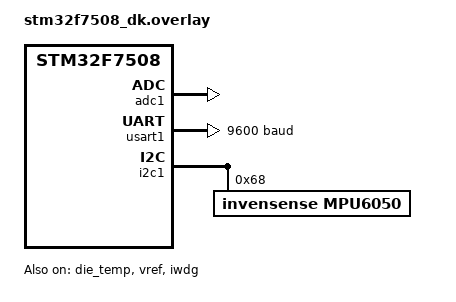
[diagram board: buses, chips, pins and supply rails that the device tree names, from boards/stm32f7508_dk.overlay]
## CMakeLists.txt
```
cmake_minimum_required(VERSION 3.20.0)
find_package(Zephyr REQUIRED HINTS $ENV{ZEPHYR_BASE})
project(stm32f7_dashboard)

target_include_directories(app PRIVATE src)

target_sources(app PRIVATE
    src/main.c
    src/system_overview.c
    src/task_management.c
    src/pc_profiler.c
    src/generated/symtab_data.c
    src/events_logs.c
    src/live_variables.c
    src/ball_game.c
    src/launcher.c
    src/splash.c
    src/images/img_image1.c
    src/images/img_image2.c
    src/temperature.c
    src/mpu6050_input.c
    src/async_printk.c
    src/watchdog.c
)

set(PC_PROFILER_SYMTAB_SRC ${CMAKE_CURRENT_SOURCE_DIR}/src/generated/symtab_data.c)
if(NOT EXISTS ${PC_PROFILER_SYMTAB_SRC})
    file(MAKE_DIRECTORY ${CMAKE_CURRENT_SOURCE_DIR}/src/generated)
    file(WRITE ${PC_PROFILER_SYMTAB_SRC}
        "#include \"pc_profiler.h\"\n"
        "const struct symtab_entry pc_profiler_symtab[] = { { 0x0u, 0x0u, \"(build twice)\" } };\n"
        "const unsigned int pc_profiler_symtab_count = 0;\n")
endif()

add_custom_target(pc_profiler_gen_symtab ALL
    COMMAND ${Python3_EXECUTABLE} ${CMAKE_CURRENT_SOURCE_DIR}/tools/gen_symtab.py
            --nm  ${CMAKE_NM}
            --elf $<TARGET_FILE:zephyr_final>
            --out ${PC_PROFILER_SYMTAB_SRC}
    COMMENT "pc_profiler: regenerating symtab_data.c from zephyr.elf (used by next build)"
    VERBATIM
)
add_dependencies(pc_profiler_gen_symtab zephyr_final)
```

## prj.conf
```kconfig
CONFIG_PRINTK=y
CONFIG_DISPLAY=y
CONFIG_STM32_LTDC_RGB888=y
CONFIG_GPIO=y

# Default 1024 overflows: lv_chart_create() (Plot Display) needs more stack.
CONFIG_MAIN_STACK_SIZE=4096

# Double LTDC framebuffer avoids CPU/DMA SDRAM contention that lagged the touch cursor.
CONFIG_STM32_LTDC_FB_NUM=2

# VDB @65%: <100% avoids a driver fast path that locks the UI; sized to flush the chart in one pass.
CONFIG_LV_Z_VDB_ZEPHYR_REGION=y
CONFIG_LV_Z_VDB_ZEPHYR_REGION_NAME="SDRAM1"
CONFIG_LV_Z_VDB_SIZE=65
CONFIG_LV_Z_DOUBLE_VDB=y

CONFIG_LOG=y
CONFIG_LOG_DEFAULT_LEVEL=1

# Reboot on panic instead of halt-forever, so the board self-recovers.
CONFIG_RESET_ON_FATAL_ERROR=y

# IWDG catches lockups that raise no CPU fault; configured/fed from src/watchdog.c.
CONFIG_WATCHDOG=y

# Lets watchdog_report_reset_cause() tell a normal boot from a watchdog/software reset.
CONFIG_HWINFO=y

# Default input priority (14) starved by the LVGL workqueue: Menu button unresponsive.
CONFIG_INPUT_THREAD_PRIORITY_OVERRIDE=y
CONFIG_INPUT_THREAD_PRIORITY=-1

CONFIG_LVGL=y

# Default 2KB LVGL heap makes every lv_obj_create() return NULL; 128KB of 256KB SRAM.
CONFIG_LV_Z_MEM_POOL_SIZE=131072
CONFIG_LV_Z_RUN_LVGL_ON_WORKQUEUE=y

CONFIG_LV_USE_ASSERT_MEM_INTEGRITY=y
CONFIG_LV_USE_ASSERT_OBJ=y
CONFIG_LV_USE_LABEL=y
CONFIG_LV_USE_BUTTON=y
CONFIG_LV_FONT_MONTSERRAT_14=y
CONFIG_INPUT=y
CONFIG_LV_USE_BUTTONMATRIX=y
CONFIG_LV_FONT_MONTSERRAT_20=y
CONFIG_LV_FONT_MONTSERRAT_24=y
CONFIG_LV_FONT_MONTSERRAT_28=y
CONFIG_LV_USE_TABLE=y
CONFIG_LV_USE_CHART=y
CONFIG_LV_USE_BAR=y

CONFIG_SYS_HEAP_RUNTIME_STATS=y
CONFIG_INIT_STACKS=y
CONFIG_THREAD_STACK_INFO=y

CONFIG_THREAD_MONITOR=y
CONFIG_THREAD_NAME=y

# Raw .bin output, needed to flash external QSPI at 0x90000000.
CONFIG_BUILD_OUTPUT_BIN=y

# Chain-loaded by boot_qspi without a core reset: stale MPU config faults on our .bss zeroing.
CONFIG_INIT_ARCH_HW_AT_BOOT=y

CONFIG_PICOLIBC_IO_FLOAT=y

CONFIG_ADC=y

CONFIG_SENSOR=y

# Async printk replaces a blocking UART hook that stalled LVGL clicks and ADC threads.
CONFIG_UART_INTERRUPT_DRIVEN=y
CONFIG_RING_BUFFER=y

# Internal flash driver for the ball game high score; the QSPI NOR (XIP-mapped) doesn't need it.
CONFIG_FLASH=y
CONFIG_FLASH_STM32_QSPI=n
```

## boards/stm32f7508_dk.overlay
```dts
/*
 * Internal flash (64 KB) too small for LVGL: the app runs XIP from external
 * QSPI at 0x90000000 (stm32f7.dtsi "quadspi_memory", shrunk to 1 MB).
 */

/ {
	chosen {
		zephyr,flash = &quadspi_memory;
	};
};

&quadspi_memory {
	reg = <0x90000000 0x00100000>; /* 1 MB, not the 256 MB default */
	zephyr,memory-region = "QSPI_XIP";

	/*
	 * Dropped: the inherited ATTR_MPU_EXTMEM (stm32f7.dtsi) shadowed
	 * FLASH_0 with a NO_ACCESS region, HardFaulting any execute from
	 * 0x90000000 (see bootloader-qspi.md).
	 */
	/delete-property/ zephyr,memory-attr;
};

/*
 * ADC1 is disabled by default in stm32f7.dtsi; die_temp/vref below use its
 * internal channels (17/18) directly - no pinctrl or DMA.
 */
&adc1 {
	st,adc-prescaler = <4>;
	status = "okay";
};

/*
 * die_temp/vref: ready-made stm32f7.dtsi nodes, just disabled by default;
 * src/temperature.c handles multiplexing and calibration.
 */
&die_temp {
	status = "okay";
};

&vref {
	status = "okay";
};

&usart1 {
	current-speed = <9600>;
};

/*
 * MPU6050 on I2C1 (PB8/PB9 = Arduino D15/D14; i2c1 already enabled in
 * stm32f7508_dk.dts). AD0 tied to GND -> address 0x68.
 */
&i2c1 {
	mpu6050: mpu6050@68 {
		compatible = "invensense,mpu6050";
		reg = <0x68>;
	};
};

/*
 * IWDG: ready-made stm32f7.dtsi node, disabled by default; runs off its own
 * LSI timer. Configured and fed from src/watchdog.c.
 */
&iwdg {
	status = "okay";
};

&flash0 {
	partitions {
		compatible = "fixed-partitions";
		#address-cells = <1>;
		#size-cells = <1>;

		highscore_partition: partition@8000 {
			label = "highscore";
			reg = <0x00008000 DT_SIZE_K(32)>;
		};
	};
};
```

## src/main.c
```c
/**
 * @file
 * @brief Entry point: display boot, splash, every screen module, watchdog loop.
 */

#include <zephyr/kernel.h>
#include <zephyr/device.h>
#include <zephyr/drivers/display.h>
#include <zephyr/sys/printk.h>
#include <lvgl_mem.h>

#include "system_overview.h"
#include "task_management.h"
#include "pc_profiler.h"
#include "events_logs.h"
#include "live_variables.h"
#include "ball_game.h"
#include "launcher.h"
#include "splash.h"
#include "temperature.h"
#include "mpu6050_input.h"
#include "async_printk.h"
#include "watchdog.h"

#define SPLASH_DELAY_MS 1500

int main(void)
{
    const struct device *display_dev = DEVICE_DT_GET(DT_CHOSEN(zephyr_display));

    async_printk_init();

    watchdog_report_reset_cause();

    printk("[main]: stm32f7_dashboard demarre, verification de l'ecran...\n");
    events_logs_add("[main] stm32f7_dashboard starting");

    if (!device_is_ready(display_dev)) {
        printk("[main]: Ecran non pret\n");
        events_logs_add("[main] Display not ready");
        return -1;
    }
    printk("[main]: Ecran pret\n");
    events_logs_add("[main] Display ready");

    if (watchdog_init() != 0) {
        printk("[main]: watchdog_init ECHEC (pas de filet de securite IWDG)\n");
        events_logs_add("[main] watchdog_init FAILED");
    }

    splash_show_image1();

    display_blanking_off(display_dev);
    printk("[main]: splash image1 affichee\n");
    k_sleep(K_MSEC(SPLASH_DELAY_MS));

    splash_show_image2();
    printk("[main]: splash image2 affichee\n");
    k_sleep(K_MSEC(SPLASH_DELAY_MS));

    splash_cleanup();

    system_overview_init();
    printk("[main]: system_overview_init OK\n");

    pc_profiler_init();
    printk("[main]: pc_profiler_init OK\n");

    task_management_init();
    printk("[main]: task_management_init OK\n");

    events_logs_init();
    printk("[main]: events_logs_init OK\n");
        
    if (temperature_init() != 0) {
        printk("[main]: temperature_init ECHEC\n");
        events_logs_add("[main] temperature_init FAILED");
    } else {
        printk("[main]: temperature_init OK\n");
    }

    if (mpu6050_input_init() != 0) {
        printk("[main]: mpu6050_input_init ECHEC\n");
        events_logs_add("[main] mpu6050_input_init FAILED");
    } else {
        printk("[main]: mpu6050_input_init OK\n");
    }

    live_variables_init();
    printk("[main]: live_variables_init OK\n");

    ball_game_init();
    printk("[main]: ball_game_init OK\n");

    launcher_init(); /* Builds and loads the launcher screen (lv_screen_load). */
    printk("[main]: launcher_init OK, ecran charge\n");
    events_logs_add("[main] Boot complete, launcher displayed");

    int uptime_s = 0;

    while (1) {
        k_sleep(K_SECONDS(1));
        watchdog_feed();

        uptime_s++;
        if (uptime_s % 5 == 0) {
            struct sys_memory_stats stats;

            lvgl_heap_stats(&stats);
            events_logs_add("[mem] free=%u allocated=%u max_allocated=%u",
                             (unsigned)stats.free_bytes, (unsigned)stats.allocated_bytes,
                             (unsigned)stats.max_allocated_bytes);
        }
    }

    return 0;
}
```

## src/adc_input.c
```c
/**
 * @file
 * @brief Samples the 4 potentiometer ADC channels from a dedicated thread.
 */

#include "adc_input.h"
#include <zephyr/kernel.h>
#include <zephyr/device.h>
#include <zephyr/drivers/adc.h>
#include <zephyr/linker/section_tags.h>


static const struct adc_dt_spec adc_chans[] = {
    ADC_DT_SPEC_GET_BY_NAME(DT_PATH(zephyr_user), pot0),
    ADC_DT_SPEC_GET_BY_NAME(DT_PATH(zephyr_user), pot1),
    ADC_DT_SPEC_GET_BY_NAME(DT_PATH(zephyr_user), pot2),
    ADC_DT_SPEC_GET_BY_NAME(DT_PATH(zephyr_user), pot3),
};

BUILD_ASSERT(ARRAY_SIZE(adc_chans) == ADC_CHANNEL_COUNT);

#define POT0 0
#define POT1 1
#define POT2 2
#define POT3 3

#define ADC_THREAD_STACK_SIZE 1024
#define ADC_THREAD_PRIORITY   5
#define ADC_SAMPLE_PERIOD_MS  20

K_THREAD_STACK_DEFINE(adc_thread_stack, ADC_THREAD_STACK_SIZE);
static struct k_thread adc_thread_data;

static atomic_t adc_values_mv[ARRAY_SIZE(adc_chans)];

/* DMA buffers: __nocache + 32-byte alignment, required by adc_stm32 since
 * DMA gets no automatic cache maintenance. */

/* pot0 alone on ADC1 (DMA2 Stream0/Channel0, see overlay). */
static __aligned(32) uint16_t adc1_buffer[1] __nocache;

/* pot1/pot2/pot3 share ADC3, scanned in one DMA conversion (channels
 * 8/7/6). Sequencer returns samples in ascending channel order, which is
 * reversed vs. the devicetree pot1/pot2/pot3 order - hence the lookup
 * table below instead of assuming adc_chans[] order. */
static __aligned(32) uint16_t adc3_buffer[3] __nocache;
static const int adc3_scan_order_to_pot[3] = { POT3, POT2, POT1 };

static void adc_sample_thread(void *p1, void *p2, void *p3)
{
    ARG_UNUSED(p1);
    ARG_UNUSED(p2);
    ARG_UNUSED(p3);

    const struct adc_sequence seq_adc1 = {
        .channels = BIT(adc_chans[POT0].channel_id),
        .buffer = adc1_buffer,
        .buffer_size = sizeof(adc1_buffer),
        .resolution = adc_chans[POT0].resolution,
    };

    const struct adc_sequence seq_adc3 = {
        .channels = BIT(adc_chans[POT1].channel_id) |
                    BIT(adc_chans[POT2].channel_id) |
                    BIT(adc_chans[POT3].channel_id),
        .buffer = adc3_buffer,
        .buffer_size = sizeof(adc3_buffer),
        .resolution = adc_chans[POT1].resolution,
    };

    int64_t next_wake = k_uptime_get();

    while (1) {
        int err = adc_read(adc_chans[POT0].dev, &seq_adc1);

        if (err == 0) {
            int32_t mv = adc1_buffer[0];

            err = adc_raw_to_millivolts_dt(&adc_chans[POT0], &mv);
            if (err == 0) {
                atomic_set(&adc_values_mv[POT0], mv);
            }
        }
        if (err != 0) {
            printk("[adc_input]: ADC1 (pot0) read failed with error %d\n", err);
        }

        err = adc_read(adc_chans[POT1].dev, &seq_adc3);
        if (err == 0) {
            for (int i = 0; i < ARRAY_SIZE(adc3_buffer); i++) {
                int pot = adc3_scan_order_to_pot[i];
                int32_t mv = adc3_buffer[i];

                if (adc_raw_to_millivolts_dt(&adc_chans[pot], &mv) == 0) {
                    atomic_set(&adc_values_mv[pot], mv);
                }
            }
        } else {
            printk("[adc_input]: ADC3 (pot1/pot2/pot3) read failed with error %d\n", err);
        }

        next_wake += ADC_SAMPLE_PERIOD_MS;
        k_sleep(K_TIMEOUT_ABS_MS(next_wake));
    }
}

int32_t adc_input_get_mv(int idx)
{
    return (int32_t)atomic_get(&adc_values_mv[idx]);
}

int adc_input_init(void)
{
    for (int i = 0; i < ARRAY_SIZE(adc_chans); i++) {
        if (!adc_is_ready_dt(&adc_chans[i])) {
            printk("[adc_input]: ADC channel %d device not ready\n", i);
            return -1;
        }

        if (adc_channel_setup_dt(&adc_chans[i])) {
            printk("[adc_input]: ADC channel %d setup failed\n", i);
            return -1;
        }

        printk("[adc_input]: ADC channel %d: device=%s, channel_id=%d, resolution=%d\n",
                i, adc_chans[i].dev->name, adc_chans[i].channel_id, adc_chans[i].resolution);
    }

    k_thread_create(&adc_thread_data, adc_thread_stack, ADC_THREAD_STACK_SIZE,
                     adc_sample_thread, NULL, NULL, NULL,
                     ADC_THREAD_PRIORITY, 0, K_NO_WAIT);
    k_thread_name_set(&adc_thread_data, "adc_sample");

    return 0;
}
```

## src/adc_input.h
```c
/**
 * @file
 * @brief Background sampling of the 4 potentiometer ADC channels.
 */

#ifndef ADC_INPUT_H_
#define ADC_INPUT_H_

#include <stdint.h>

#define ADC_CHANNEL_COUNT 4

/**
 * @brief Set up the ADC channels and start the sampling thread.
 *
 * @return 0 on success, -1 if a channel is not ready or setup fails.
 */
int adc_input_init(void);

/**
 * @brief Get the last sampled value of a channel, in millivolts.
 *
 * @param idx Channel index (0..ADC_CHANNEL_COUNT-1).
 * @return Latest sample in millivolts.
 */
int32_t adc_input_get_mv(int idx);

#endif /* ADC_INPUT_H_ */
```

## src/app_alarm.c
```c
/* STUB TEMPORAIRE : ecran vide, juste pour permettre a launcher.c de lier
 * pendant qu'on valide la chaine QSPI XIP. Sera remplace par la vraie
 * appli alarme (RTC + thread dedie) a l'etape dediee du plan. */

#include "app_alarm.h"
#include "launcher.h"
#include <lvgl_zephyr.h>

static lv_obj_t *alarm_screen;

static void back_to_menu_cb(lv_event_t *e)
{
    (void)e;
    lv_screen_load(launcher_screen_get());
}

lv_obj_t *alarm_screen_get(void)
{
    return alarm_screen;
}

void alarm_init(void)
{
    lvgl_lock();

    alarm_screen = lv_obj_create(NULL);

    lv_obj_t *label = lv_label_create(alarm_screen);
    lv_label_set_text(label, "Alarme (bientot disponible)");
    lv_obj_center(label);

    lv_obj_t *back_btn = lv_button_create(alarm_screen);
    lv_obj_set_size(back_btn, 80, 30);
    lv_obj_align(back_btn, LV_ALIGN_TOP_LEFT, 10, 10);
    lv_obj_add_event_cb(back_btn, back_to_menu_cb, LV_EVENT_CLICKED, NULL);

    lv_obj_t *back_label = lv_label_create(back_btn);
    lv_label_set_text(back_label, "Menu");
    lv_obj_center(back_label);

    lvgl_unlock();
}
```

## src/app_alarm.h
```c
#ifndef APP_ALARM_H_
#define APP_ALARM_H_

#include <lvgl.h>

/* STUB TEMPORAIRE : ecran vide, juste pour permettre a launcher.c de lier.
 * Sera remplace par la vraie appli alarme (RTC + thread dedie). */
void alarm_init(void);

lv_obj_t *alarm_screen_get(void);

#endif /* APP_ALARM_H_ */
```

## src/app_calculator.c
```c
#include "app_calculator.h"
#include "launcher.h"
#include <lvgl_zephyr.h>
#include <zephyr/kernel.h>
#include <stdbool.h>
#include <stdio.h>
#include <stdlib.h>
#include <string.h>

#define CALC_THREAD_STACK_SIZE 2048
#define CALC_THREAD_PRIORITY   7
#define CALC_ENTRY_MAX         16

K_MSGQ_DEFINE(calc_msgq, sizeof(char), 16, 1);

static lv_obj_t *calculator_screen;
static lv_obj_t *display_label;

/* "\n" termine une ligne, "" termine la map (voir lv_buttonmatrix.h) */
static const char *const calc_btnm_map[] = {
    "7", "8", "9", "/", "\n",
    "4", "5", "6", "*", "\n",
    "1", "2", "3", "-", "\n",
    "C", "0", ".", "+", "\n",
    "=", "",
};

static void back_to_menu_cb(lv_event_t *e)
{
    (void)e;
    lv_screen_load(launcher_screen_get());
}

/* Callback LVGL (contexte thread workqueue LVGL) : ne fait aucun calcul,
 * pousse juste le caractere presse dans la queue pour le thread calculatrice. */
static void btnm_event_cb(lv_event_t *e)
{
    lv_obj_t *btnm = lv_event_get_target_obj(e);
    uint32_t id = lv_buttonmatrix_get_selected_button(btnm);
    const char *txt = lv_buttonmatrix_get_button_text(btnm, id);

    if (txt == NULL || txt[0] == '\0') {
        return;
    }

    char c = txt[0];

    (void)k_msgq_put(&calc_msgq, &c, K_NO_WAIT);
}

lv_obj_t *calculator_screen_get(void)
{
    return calculator_screen;
}

static double apply_op(double a, double b, char op)
{
    switch (op) {
    case '+':
        return a + b;
    case '-':
        return a - b;
    case '*':
        return a * b;
    case '/':
        return (b != 0.0) ? a / b : 0.0;
    default:
        return b;
    }
}

static void set_display(const char *text)
{
    lvgl_lock();
    lv_label_set_text(display_label, text);
    lvgl_unlock();
}

static void calculator_thread(void *p1, void *p2, void *p3)
{
    ARG_UNUSED(p1);
    ARG_UNUSED(p2);
    ARG_UNUSED(p3);

    double operand1 = 0.0;
    char pending_op = 0;
    bool start_new_entry = true;
    char entry[CALC_ENTRY_MAX] = "0";
    char c;

    while (1) {
        k_msgq_get(&calc_msgq, &c, K_FOREVER);

        if (c == 'C') {
            operand1 = 0.0;
            pending_op = 0;
            start_new_entry = true;
            strcpy(entry, "0");
            set_display(entry);
            continue;
        }

        if (c >= '0' && c <= '9') {
            if (start_new_entry) {
                entry[0] = '\0';
                start_new_entry = false;
            }
            size_t len = strlen(entry);

            if (len < CALC_ENTRY_MAX - 1) {
                entry[len] = c;
                entry[len + 1] = '\0';
            }
            set_display(entry);
            continue;
        }

        if (c == '.') {
            if (start_new_entry) {
                strcpy(entry, "0");
                start_new_entry = false;
            }
            if (strchr(entry, '.') == NULL && strlen(entry) < CALC_ENTRY_MAX - 1) {
                strcat(entry, ".");
            }
            set_display(entry);
            continue;
        }

        if (c == '+' || c == '-' || c == '*' || c == '/') {
            double val = atof(entry);

            if (pending_op != 0 && !start_new_entry) {
                operand1 = apply_op(operand1, val, pending_op);
            } else {
                operand1 = val;
            }
            pending_op = c;
            start_new_entry = true;
            snprintf(entry, sizeof(entry), "%g", operand1);
            set_display(entry);
            continue;
        }

        if (c == '=') {
            if (pending_op != 0 && !start_new_entry) {
                double val = atof(entry);

                operand1 = apply_op(operand1, val, pending_op);
                pending_op = 0;
                start_new_entry = true;
                snprintf(entry, sizeof(entry), "%g", operand1);
                set_display(entry);
            }
            continue;
        }
    }
}

K_THREAD_DEFINE(calc_tid, CALC_THREAD_STACK_SIZE, calculator_thread, NULL, NULL, NULL,
                CALC_THREAD_PRIORITY, 0, 0);

void calculator_init(void)
{
    lvgl_lock();

    calculator_screen = lv_obj_create(NULL);

    display_label = lv_label_create(calculator_screen);
    lv_label_set_text(display_label, "0");
    lv_obj_align(display_label, LV_ALIGN_TOP_RIGHT, -10, 10);

    lv_obj_t *btnm = lv_buttonmatrix_create(calculator_screen);
    lv_buttonmatrix_set_map(btnm, calc_btnm_map);
    lv_obj_set_size(btnm, 280, 200);
    lv_obj_align(btnm, LV_ALIGN_BOTTOM_MID, 0, -10);
    lv_obj_add_event_cb(btnm, btnm_event_cb, LV_EVENT_VALUE_CHANGED, NULL);

    lv_obj_t *back_btn = lv_button_create(calculator_screen);
    lv_obj_set_size(back_btn, 80, 30);
    lv_obj_align(back_btn, LV_ALIGN_TOP_LEFT, 10, 10);
    lv_obj_add_event_cb(back_btn, back_to_menu_cb, LV_EVENT_CLICKED, NULL);

    lv_obj_t *back_label = lv_label_create(back_btn);
    lv_label_set_text(back_label, "Menu");
    lv_obj_center(back_label);

    lvgl_unlock();
}
```

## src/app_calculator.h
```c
#ifndef APP_CALCULATOR_H_
#define APP_CALCULATOR_H_

#include <lvgl.h>

/* Construit l'ecran calculatrice et demarre son thread de calcul.
 * A appeler une seule fois au demarrage, avant launcher_init(). */
void calculator_init(void);

/* Ecran calculatrice, utilise par launcher.c pour lv_screen_load(). */
lv_obj_t *calculator_screen_get(void);

#endif /* APP_CALCULATOR_H_ */
```

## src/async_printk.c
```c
/**
 * @file
 * @brief Interrupt-driven printk() backend and UART link-status decoder.
 */

#include "async_printk.h"
#include <zephyr/kernel.h>
#include <zephyr/device.h>
#include <zephyr/drivers/uart.h>
#include <zephyr/sys/printk.h>
#include <zephyr/sys/printk-hooks.h>
#include <zephyr/sys/ring_buffer.h>
#include <string.h>

#define ASYNC_PRINTK_BUF_SIZE 1024
#define UART_RX_BUF_SIZE 128

/* Frame format sent by tools/send_time.py: "<HH:MM:SS,DD/MM/YYYY>",
 * '\n'-terminated. */
#define FRAME_LEN (1 + ASYNC_PRINTK_TIME_LEN + 1 + ASYNC_PRINTK_DATE_LEN + 1)
#define CONNECTED_TIMEOUT_MS 3000

static const struct device *console_dev = DEVICE_DT_GET(DT_CHOSEN(zephyr_console));

RING_BUF_DECLARE(tx_rb, ASYNC_PRINTK_BUF_SIZE);
static struct k_spinlock produce_lock;

/* RX (PC -> board): the ISR only drains the UART FIFO into this ring
 * buffer; parsing is deferred to rx_work on the system workqueue to keep
 * ISR context light. */
RING_BUF_DECLARE(rx_rb, UART_RX_BUF_SIZE);
static struct k_work rx_work;

/* Last decoded link status, guarded by link_lock (written by
 * rx_work_handler on the system workqueue, read by the launcher's lv_timer
 * on the LVGL workqueue). */
static struct {
    char time_str[ASYNC_PRINTK_TIME_LEN + 1];
    char date_str[ASYNC_PRINTK_DATE_LEN + 1];
    int64_t last_rx_uptime;
    bool has_data;
} link_status;
static struct k_spinlock link_lock;

/* Current line accumulator (between two '\n'), reset each frame. */
static char line_buf[FRAME_LEN];
static size_t line_len;
static bool line_overflow;

static bool frame_is_valid(const char *buf, size_t len)
{
    return len == FRAME_LEN &&
           buf[0] == '<' && buf[FRAME_LEN - 1] == '>' &&
           buf[3] == ':' && buf[6] == ':' &&
           buf[9] == ',' && buf[12] == '/' && buf[15] == '/';
}

static void frame_apply(const char *buf)
{
    k_spinlock_key_t key = k_spin_lock(&link_lock);

    memcpy(link_status.time_str, &buf[1], ASYNC_PRINTK_TIME_LEN);
    link_status.time_str[ASYNC_PRINTK_TIME_LEN] = '\0';
    memcpy(link_status.date_str, &buf[10], ASYNC_PRINTK_DATE_LEN);
    link_status.date_str[ASYNC_PRINTK_DATE_LEN] = '\0';
    link_status.last_rx_uptime = k_uptime_get();
    link_status.has_data = true;

    k_spin_unlock(&link_lock, key);
}

static void rx_work_handler(struct k_work *work)
{
    ARG_UNUSED(work);
    uint8_t byte;

    while (ring_buf_get(&rx_rb, &byte, 1) == 1) {
        if (byte == '\n') {
            if (!line_overflow && frame_is_valid(line_buf, line_len)) {
                frame_apply(line_buf);
            }
            line_len = 0;
            line_overflow = false;
            continue;
        }

        if (line_len < FRAME_LEN) {
            line_buf[line_len++] = (char)byte;
        } else {
            /* Line longer than expected (noise/desync): ignore it until
             * the next '\n' instead of overflowing line_buf. */
            line_overflow = true;
        }
    }
}

bool async_printk_get_link_status(char time_out[ASYNC_PRINTK_TIME_LEN + 1],
                                   char date_out[ASYNC_PRINTK_DATE_LEN + 1],
                                   bool *connected)
{
    k_spinlock_key_t key = k_spin_lock(&link_lock);

    bool has_data = link_status.has_data;

    if (has_data) {
        memcpy(time_out, link_status.time_str, sizeof(link_status.time_str));
        memcpy(date_out, link_status.date_str, sizeof(link_status.date_str));
    }
    *connected = has_data &&
                 (k_uptime_get() - link_status.last_rx_uptime) < CONNECTED_TIMEOUT_MS;

    k_spin_unlock(&link_lock, key);

    return has_data;
}

static void uart_isr(const struct device *dev, void *user_data)
{
    ARG_UNUSED(user_data);
    uart_irq_update(dev);

    if (uart_irq_rx_ready(dev)) {
        uint8_t c;
        while (uart_fifo_read(dev, &c, 1) == 1) {
            ring_buf_put(&rx_rb, &c, 1);
        }
        k_work_submit(&rx_work);
    }

    if (!uart_irq_tx_ready(dev)) {
        return;
    }

    uint8_t c;
    while (ring_buf_get(&tx_rb, &c, 1) == 1) {
        uart_fifo_fill(dev, &c, 1);
    }
    uart_irq_tx_disable(dev);
}

/* Ring-buffer printk() output, drained via UART IRQ instead of the default
 * blocking uart_poll_out(). Write side locked (multiple callers); ISR read
 * side is single-consumer, lock-free. Full buffer truncates, never blocks. */
static int async_char_out(int c)
{
    uint8_t byte = (uint8_t)c;
    k_spinlock_key_t key = k_spin_lock(&produce_lock);

    if (byte == '\n') {
        ring_buf_put(&tx_rb, (const uint8_t[]){ '\r' }, 1);
    }
    ring_buf_put(&tx_rb, &byte, 1);

    k_spin_unlock(&produce_lock, key);

    uart_irq_tx_enable(console_dev);

    return c;
}

void async_printk_init(void)
{
    k_work_init(&rx_work, rx_work_handler);
    uart_irq_callback_set(console_dev, uart_isr);
    uart_irq_rx_enable(console_dev);
    __printk_hook_install(async_char_out);
}
```

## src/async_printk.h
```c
/**
 * @file
 * @brief Interrupt-driven printk() backend and UART link-status decoder.
 */

#ifndef ASYNC_PRINTK_H_
#define ASYNC_PRINTK_H_

#include <stdbool.h>

#define ASYNC_PRINTK_TIME_LEN 8  /* "HH:MM:SS" */
#define ASYNC_PRINTK_DATE_LEN 10 /* "DD/MM/YYYY" */

/** @brief Install the interrupt-driven printk() backend and UART RX handling. */
void async_printk_init(void);

/**
 * @brief Last time/date from the host link (tools/send_time.py) and link state.
 * @param time_out/date_out Filled only once a frame has been received.
 * @param connected False if no frame arrived in the last 3 s.
 * @return true if at least one frame has ever been received.
 */
bool async_printk_get_link_status(char time_out[ASYNC_PRINTK_TIME_LEN + 1],
                                   char date_out[ASYNC_PRINTK_DATE_LEN + 1],
                                   bool *connected);

#endif /* ASYNC_PRINTK_H_ */
```

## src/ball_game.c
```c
/**
 * @file
 * @brief Tilt-controlled bouncing ball screen, driven by the MPU6050.
 */

#include "ball_game.h"
#include "launcher.h"
#include "events_logs.h"
#include "mpu6050_input.h"
#include <lvgl_zephyr.h>
#include <math.h>
#include <zephyr/drivers/flash.h>
#include <zephyr/storage/flash_map.h>

#define SCREEN_W 480
#define SCREEN_H 272
#define BALL_RADIUS 10

/* Two obstacles chase the ball at a fixed speed each physics tick; touching
 * one ends the game. Neither starts at screen center (the ball's spawn), and
 * OBSTACLE_MIN_GAP_PXS stops them drifting onto each other's spot. */
#define OBSTACLE_COUNT 2
#define OBSTACLE_RADIUS 9
#define OBSTACLE_SPEED_PXS 70.0f
#define OBSTACLE_MIN_GAP_PXS (4.0f * OBSTACLE_RADIUS)
#define OBSTACLE_COLOR lv_color_hex(0xFF8000)

#define PHYSICS_PERIOD_MS 33
#define RENDER_PERIOD_MS 33

#define PHYSICS_THREAD_STACK_SIZE 1024
#define PHYSICS_THREAD_PRIORITY 5

/* Tunable "feel" constants: how strongly a tilt accelerates the ball,
 * how fast it loses speed (friction), and how much energy a wall
 * bounce keeps. */
#define ACCEL_TO_PX 0.05f
#define DAMPING 0.98f
#define RESTITUTION 0.7f

/* Extra per-axis friction inside the deadzone: residual tilt velocity bleeds
 * off in under a second instead of coasting on DAMPING for several. */
#define RELEASE_DAMPING 0.80f

/* Flip to -1 if a tilt moves the ball the wrong way - depends on how
 * the MPU6050 is physically mounted relative to the screen. */
#define ACCEL_X_SIGN 1
#define ACCEL_Y_SIGN 1

/* Ignore residual noise left after mpu6050_input.c's boot calibration,
 * so the ball fully settles instead of creeping. */
#define ACCEL_DEADZONE_MMS2 80.0f
#define VELOCITY_EPSILON_PXS 2.0f

/* Trail: fixed pool of dash marks reused as a ring buffer (bounded, never
 * grows the LVGL heap). Plain rects, not labels - glyph rendering is far
 * costlier under the ball's repeatedly-invalidated redraw area. */
#define TRACE_MAX_COUNT 150
#define TRACE_MARK_PERIOD_TICKS 3
#define TRACE_MIN_SPEED_PXS 3.0f
#define TRACE_MARK_W 6
#define TRACE_MARK_H 2

/* Coordinate readout, off by default: only touched (text re-render)
 * when visible, and throttled below the 33ms physics rate since a
 * human doesn't need it refreshed that fast. */
#define DATA_LABEL_PERIOD_TICKS 4

static lv_obj_t *ball_game_screen;
static lv_obj_t *ball;
static lv_timer_t *render_timer;

static lv_obj_t *trace_marks[TRACE_MAX_COUNT];
static int trace_write_index;
static int trace_tick_counter;

static lv_obj_t *data_label;
static bool data_visible;
static int data_tick_counter;

static lv_obj_t *gameover_overlay;
static lv_obj_t *gameover_score_label;
static lv_obj_t *gameover_best_label;
static bool gameover_shown;

static lv_obj_t *obstacle_objs[OBSTACLE_COUNT];

struct ball_state {
    float x;
    float y;
    float vx;
    float vy;
    int32_t ax;
    int32_t ay;
    bool game_over;
    int64_t elapsed_ms;
    float obstacle_x[OBSTACLE_COUNT];
    float obstacle_y[OBSTACLE_COUNT];
};

static struct ball_state shared_state = {
    .x = SCREEN_W / 2.0f,
    .y = SCREEN_H / 2.0f,
};
static struct k_spinlock state_lock;

static atomic_t physics_active;
static atomic_t reset_requested;
K_SEM_DEFINE(physics_start_sem, 0, 1);

K_THREAD_STACK_DEFINE(physics_thread_stack, PHYSICS_THREAD_STACK_SIZE);
static struct k_thread physics_thread;

struct obstacle_phys {
    float x;
    float y;
    float vx;
    float vy;
};

/* Starting positions only - velocity is recomputed every tick to
 * chase the ball (see physics_thread_fn), so it doesn't matter here.
 * Kept away from the screen center, where the ball spawns. */
static void obstacles_reset(struct obstacle_phys *obs)
{
    obs[0].x = SCREEN_W * 0.25f;
    obs[0].y = 70.0f;
    obs[0].vx = 0.0f;
    obs[0].vy = 0.0f;

    obs[1].x = SCREEN_W - 60.0f;
    obs[1].y = 60.0f;
    obs[1].vx = 0.0f;
    obs[1].vy = 0.0f;
}

static void obstacle_clamp(struct obstacle_phys *o)
{
    if (o->x < OBSTACLE_RADIUS) {
        o->x = OBSTACLE_RADIUS;
    } else if (o->x > SCREEN_W - OBSTACLE_RADIUS) {
        o->x = SCREEN_W - OBSTACLE_RADIUS;
    }

    if (o->y < OBSTACLE_RADIUS) {
        o->y = OBSTACLE_RADIUS;
    } else if (o->y > SCREEN_H - OBSTACLE_RADIUS) {
        o->y = SCREEN_H - OBSTACLE_RADIUS;
    }
}

#define HIGHSCORE_MAGIC 0x48534331 /* "HSC1" */

struct highscore_record {
    uint32_t magic;
    uint32_t best_ms;
};

static uint32_t best_score_ms;

static void highscore_load(void)
{
    const struct device *dev = PARTITION_DEVICE(highscore_partition);
    struct highscore_record rec;

    if (flash_read(dev, PARTITION_OFFSET(highscore_partition), &rec, sizeof(rec)) == 0 &&
        rec.magic == HIGHSCORE_MAGIC) {
        best_score_ms = rec.best_ms;
    }
}

static void highscore_save(uint32_t best_ms)
{
    const struct device *dev = PARTITION_DEVICE(highscore_partition);
    off_t offset = PARTITION_OFFSET(highscore_partition);
    struct highscore_record rec = {
        .magic = HIGHSCORE_MAGIC,
        .best_ms = best_ms,
    };
    int ret;

    ret = flash_erase(dev, offset, PARTITION_SIZE(highscore_partition));
    if (ret != 0) {
        printk("[ball_game]: highscore flash_erase failed (%d)\n", ret);
        return;
    }

    ret = flash_write(dev, offset, &rec, sizeof(rec));
    if (ret != 0) {
        printk("[ball_game]: highscore flash_write failed (%d)\n", ret);
    }
}

static void back_to_menu_cb(lv_event_t *e)
{
    (void)e;
    printk("[ball_game]: Back to menu\n");
    events_logs_add("[ball_game] Back to menu");
    lv_screen_load(launcher_screen_get());
}

/* Re-zeros the MPU6050 in whatever orientation it's held right now; only
 * signals the background thread, so it never blocks the LVGL/touch context. */
static void calibrate_cb(lv_event_t *e)
{
    (void)e;
    printk("[ball_game]: Recalibrating MPU6050 zero-offset\n");
    events_logs_add("[ball_game] Recalibrating MPU6050");
    mpu6050_input_calibrate();
    atomic_set(&reset_requested, 1);
}

static void clear_trace(void)
{
    for (int i = 0; i < TRACE_MAX_COUNT; i++) {
        lv_obj_add_flag(trace_marks[i], LV_OBJ_FLAG_HIDDEN);
    }
    trace_write_index = 0;
}

/* Re-arms the same reset as calibrate_cb: the physics thread unfreezes and
 * restarts the timer, and render_timer_cb hides the overlay once it sees
 * game_over false (all LVGL mutation stays in that timer). Trail cleared here. */
static void gameover_continue_cb(lv_event_t *e)
{
    (void)e;
    printk("[ball_game]: Continue after game over\n");
    events_logs_add("[ball_game] Continue after game over");
    clear_trace();
    atomic_set(&reset_requested, 1);
}

static void clear_trace_cb(lv_event_t *e)
{
    (void)e;
    clear_trace();
    printk("[ball_game]: Trace cleared\n");
    events_logs_add("[ball_game] Trace cleared");
}

static void toggle_data_cb(lv_event_t *e)
{
    (void)e;
    data_visible = !data_visible;
    if (data_visible) {
        lv_obj_clear_flag(data_label, LV_OBJ_FLAG_HIDDEN);
    } else {
        lv_obj_add_flag(data_label, LV_OBJ_FLAG_HIDDEN);
    }
}

static void physics_thread_fn(void *p1, void *p2, void *p3)
{
    ARG_UNUSED(p1);
    ARG_UNUSED(p2);
    ARG_UNUSED(p3);

    while (1) {
        k_sem_take(&physics_start_sem, K_FOREVER);

        float x = SCREEN_W / 2.0f;
        float y = SCREEN_H / 2.0f;
        float vx = 0.0f;
        float vy = 0.0f;
        int32_t raw_ax = 0;
        int32_t raw_ay = 0;
        bool game_over = false;
        int64_t game_over_elapsed_ms = 0;
        int64_t game_start_ms = k_uptime_get();
        int64_t next_wake = k_uptime_get();
        int64_t last_tick_ms = next_wake;
        struct obstacle_phys obstacles[OBSTACLE_COUNT];

        obstacles_reset(obstacles);

        while (atomic_get(&physics_active)) {
            if (atomic_cas(&reset_requested, 1, 0)) {
                x = SCREEN_W / 2.0f;
                y = SCREEN_H / 2.0f;
                vx = 0.0f;
                vy = 0.0f;
                game_over = false;
                game_start_ms = k_uptime_get();
                obstacles_reset(obstacles);
            }

            int64_t now = k_uptime_get();
            float dt = (now - last_tick_ms) / 1000.0f;
            last_tick_ms = now;
            if (dt > 2.0f * PHYSICS_PERIOD_MS / 1000.0f) {
                dt = 2.0f * PHYSICS_PERIOD_MS / 1000.0f;
            }

            /* Frozen where it hit until "Continue"/"Menu": skip physics and
             * keep republishing the frozen state below. */
            if (!game_over) {
                raw_ax = mpu6050_input_get_accel_x_mms2();
                raw_ay = mpu6050_input_get_accel_y_mms2();

                if (raw_ax > -ACCEL_DEADZONE_MMS2 && raw_ax < ACCEL_DEADZONE_MMS2) {
                    raw_ax = 0;
                }
                if (raw_ay > -ACCEL_DEADZONE_MMS2 && raw_ay < ACCEL_DEADZONE_MMS2) {
                    raw_ay = 0;
                }

                float ax = ACCEL_X_SIGN * raw_ax * ACCEL_TO_PX;
                float ay = ACCEL_Y_SIGN * raw_ay * ACCEL_TO_PX;

                vx = (vx + ax * dt) * (ax == 0.0f ? RELEASE_DAMPING : DAMPING);
                vy = (vy + ay * dt) * (ay == 0.0f ? RELEASE_DAMPING : DAMPING);

                if (ax == 0.0f && vx > -VELOCITY_EPSILON_PXS && vx < VELOCITY_EPSILON_PXS) {
                    vx = 0.0f;
                }
                if (ay == 0.0f && vy > -VELOCITY_EPSILON_PXS && vy < VELOCITY_EPSILON_PXS) {
                    vy = 0.0f;
                }

                x += vx * dt;
                y += vy * dt;

                if (x < BALL_RADIUS) {
                    x = BALL_RADIUS;
                    vx = -vx * RESTITUTION;
                } else if (x > SCREEN_W - BALL_RADIUS) {
                    x = SCREEN_W - BALL_RADIUS;
                    vx = -vx * RESTITUTION;
                }

                if (y < BALL_RADIUS) {
                    y = BALL_RADIUS;
                    vy = -vy * RESTITUTION;
                } else if (y > SCREEN_H - BALL_RADIUS) {
                    y = SCREEN_H - BALL_RADIUS;
                    vy = -vy * RESTITUTION;
                }

                bool hit = false;

                for (int i = 0; i < OBSTACLE_COUNT; i++) {
                    float dx = x - obstacles[i].x;
                    float dy = y - obstacles[i].y;
                    float dist = sqrtf(dx * dx + dy * dy);

                    /* Steer at the ball's current position each tick (chase,
                     * not bounce). dist == 0 is covered by the hit check. */
                    if (dist > 0.01f) {
                        obstacles[i].vx = (dx / dist) * OBSTACLE_SPEED_PXS;
                        obstacles[i].vy = (dy / dist) * OBSTACLE_SPEED_PXS;
                    }

                    obstacles[i].x += obstacles[i].vx * dt;
                    obstacles[i].y += obstacles[i].vy * dt;
                    obstacle_clamp(&obstacles[i]);
                }

                /* All obstacles chase the same point, so push any pair closer
                 * than OBSTACLE_MIN_GAP_PXS apart, symmetrically. */
                for (int i = 0; i < OBSTACLE_COUNT; i++) {
                    for (int j = i + 1; j < OBSTACLE_COUNT; j++) {
                        float odx = obstacles[j].x - obstacles[i].x;
                        float ody = obstacles[j].y - obstacles[i].y;
                        float odist = sqrtf(odx * odx + ody * ody);

                        if (odist >= OBSTACLE_MIN_GAP_PXS) {
                            continue;
                        }

                        float nx, ny;

                        if (odist > 0.01f) {
                            nx = odx / odist;
                            ny = ody / odist;
                        } else {
                            nx = 1.0f;
                            ny = 0.0f;
                        }

                        float push = (OBSTACLE_MIN_GAP_PXS - odist) * 0.5f;

                        obstacles[i].x -= nx * push;
                        obstacles[i].y -= ny * push;
                        obstacles[j].x += nx * push;
                        obstacles[j].y += ny * push;

                        obstacle_clamp(&obstacles[i]);
                        obstacle_clamp(&obstacles[j]);
                    }
                }

                for (int i = 0; i < OBSTACLE_COUNT; i++) {
                    float min_dist = BALL_RADIUS + OBSTACLE_RADIUS;
                    float post_dx = x - obstacles[i].x;
                    float post_dy = y - obstacles[i].y;

                    if (post_dx * post_dx + post_dy * post_dy < min_dist * min_dist) {
                        hit = true;
                    }
                }

                if (hit) {
                    vx = 0.0f;
                    vy = 0.0f;
                    game_over = true;
                    game_over_elapsed_ms = now - game_start_ms;
                }
            }

            K_SPINLOCK(&state_lock) {
                shared_state.x = x;
                shared_state.y = y;
                shared_state.vx = vx;
                shared_state.vy = vy;
                shared_state.ax = raw_ax;
                shared_state.ay = raw_ay;
                shared_state.game_over = game_over;
                shared_state.elapsed_ms = game_over_elapsed_ms;
                for (int i = 0; i < OBSTACLE_COUNT; i++) {
                    shared_state.obstacle_x[i] = obstacles[i].x;
                    shared_state.obstacle_y[i] = obstacles[i].y;
                }
            }

            next_wake += PHYSICS_PERIOD_MS;
            k_sleep(K_TIMEOUT_ABS_MS(next_wake));
        }
    }
}

static void render_timer_cb(lv_timer_t *timer)
{
    (void)timer;

    struct ball_state state;

    K_SPINLOCK(&state_lock) {
        state = shared_state;
    }

    lv_obj_set_pos(ball, (int32_t)(state.x - BALL_RADIUS), (int32_t)(state.y - BALL_RADIUS));

    for (int i = 0; i < OBSTACLE_COUNT; i++) {
        lv_obj_set_pos(obstacle_objs[i],
                       (int32_t)(state.obstacle_x[i] - OBSTACLE_RADIUS),
                       (int32_t)(state.obstacle_y[i] - OBSTACLE_RADIUS));
    }

    float speed_sq = state.vx * state.vx + state.vy * state.vy;
    if (speed_sq > TRACE_MIN_SPEED_PXS * TRACE_MIN_SPEED_PXS &&
        ++trace_tick_counter >= TRACE_MARK_PERIOD_TICKS) {
        trace_tick_counter = 0;

        lv_obj_t *mark = trace_marks[trace_write_index];
        lv_obj_set_pos(mark, (int32_t)state.x - TRACE_MARK_W / 2, (int32_t)state.y - TRACE_MARK_H / 2);
        lv_obj_clear_flag(mark, LV_OBJ_FLAG_HIDDEN);
        trace_write_index = (trace_write_index + 1) % TRACE_MAX_COUNT;
    }

    if (data_visible && ++data_tick_counter >= DATA_LABEL_PERIOD_TICKS) {
        data_tick_counter = 0;
        lv_label_set_text_fmt(data_label,
                               "X:%d Y:%d\nVx:%d Vy:%d\nAx:%d Ay:%d",
                               (int)state.x, (int)state.y,
                               (int)state.vx, (int)state.vy,
                               (int)state.ax, (int)state.ay);
    }

    if (state.game_over && !gameover_shown) {
        gameover_shown = true;

        uint32_t elapsed_ms = (uint32_t)state.elapsed_ms;

        if (elapsed_ms > best_score_ms) {
            best_score_ms = elapsed_ms;
            highscore_save(best_score_ms);
        }

        lv_label_set_text_fmt(gameover_score_label, "Score: %d.%02ds",
                               (int)(elapsed_ms / 1000), (int)((elapsed_ms % 1000) / 10));
        lv_label_set_text_fmt(gameover_best_label, "Best: %d.%02ds",
                               (int)(best_score_ms / 1000), (int)((best_score_ms % 1000) / 10));
        lv_obj_clear_flag(gameover_overlay, LV_OBJ_FLAG_HIDDEN);
    } else if (!state.game_over && gameover_shown) {
        gameover_shown = false;
        lv_obj_add_flag(gameover_overlay, LV_OBJ_FLAG_HIDDEN);
    }
}

static void ball_game_visibility_cb(lv_event_t *e)
{
    if (lv_event_get_code(e) == LV_EVENT_SCREEN_LOADED) {
        gameover_shown = false;
        lv_obj_add_flag(gameover_overlay, LV_OBJ_FLAG_HIDDEN);
        clear_trace();
        /* Clear the shared flag too: render_timer_cb can fire before this
         * thread runs, see the stale true from last run's freeze, and
         * immediately re-show the overlay we just hid. */
        K_SPINLOCK(&state_lock) {
            shared_state.game_over = false;
        }
        atomic_set(&physics_active, 1);
        k_sem_give(&physics_start_sem);
        lv_timer_resume(render_timer);
    } else {
        atomic_set(&physics_active, 0);
        lv_timer_pause(render_timer);
    }
}

lv_obj_t *ball_game_screen_get(void)
{
    return ball_game_screen;
}

void ball_game_init(void)
{
    highscore_load();

    lvgl_lock();

    ball_game_screen = lv_obj_create(NULL);
    lv_obj_set_style_bg_color(ball_game_screen, lv_color_white(), 0);
    lv_obj_clear_flag(ball_game_screen, LV_OBJ_FLAG_SCROLLABLE);

    lv_obj_t *back_btn = lv_button_create(ball_game_screen);
    lv_obj_set_size(back_btn, 80, 30);
    lv_obj_align(back_btn, LV_ALIGN_TOP_LEFT, 10, 10);
    lv_obj_add_event_cb(back_btn, back_to_menu_cb, LV_EVENT_CLICKED, NULL);

    lv_obj_t *back_label = lv_label_create(back_btn);
    lv_label_set_text(back_label, "Menu");
    lv_obj_center(back_label);

    lv_obj_t *calib_btn = lv_button_create(ball_game_screen);
    lv_obj_set_size(calib_btn, 80, 30);
    lv_obj_align(calib_btn, LV_ALIGN_TOP_LEFT, 10, 50);
    lv_obj_add_event_cb(calib_btn, calibrate_cb, LV_EVENT_CLICKED, NULL);

    lv_obj_t *calib_label = lv_label_create(calib_btn);
    lv_label_set_text(calib_label, "Calib");
    lv_obj_center(calib_label);

    lv_obj_t *clear_btn = lv_button_create(ball_game_screen);
    lv_obj_set_size(clear_btn, 80, 30);
    lv_obj_align(clear_btn, LV_ALIGN_TOP_LEFT, 10, 90);
    lv_obj_add_event_cb(clear_btn, clear_trace_cb, LV_EVENT_CLICKED, NULL);

    lv_obj_t *clear_label = lv_label_create(clear_btn);
    lv_label_set_text(clear_label, "Clear");
    lv_obj_center(clear_label);

    lv_obj_t *data_btn = lv_button_create(ball_game_screen);
    lv_obj_set_size(data_btn, 80, 30);
    lv_obj_align(data_btn, LV_ALIGN_TOP_LEFT, 10, 130);
    lv_obj_add_event_cb(data_btn, toggle_data_cb, LV_EVENT_CLICKED, NULL);

    lv_obj_t *data_btn_label = lv_label_create(data_btn);
    lv_label_set_text(data_btn_label, "Data");
    lv_obj_center(data_btn_label);

    data_label = lv_label_create(ball_game_screen);
    lv_label_set_text(data_label, "X:0 Y:0\nVx:0 Vy:0\nAx:0 Ay:0");
    lv_obj_set_style_text_color(data_label, lv_color_black(), 0);
    lv_obj_align(data_label, LV_ALIGN_TOP_RIGHT, -10, 10);
    lv_obj_clear_flag(data_label, LV_OBJ_FLAG_CLICKABLE);
    lv_obj_add_flag(data_label, LV_OBJ_FLAG_HIDDEN);

    for (int i = 0; i < TRACE_MAX_COUNT; i++) {
        lv_obj_t *mark = lv_obj_create(ball_game_screen);
        lv_obj_set_size(mark, TRACE_MARK_W, TRACE_MARK_H);
        lv_obj_set_style_radius(mark, 0, 0);
        lv_obj_set_style_bg_color(mark, lv_color_black(), 0);
        lv_obj_set_style_bg_opa(mark, LV_OPA_COVER, 0);
        lv_obj_set_style_border_width(mark, 0, 0);
        lv_obj_clear_flag(mark, LV_OBJ_FLAG_SCROLLABLE);
        lv_obj_clear_flag(mark, LV_OBJ_FLAG_CLICKABLE);
        lv_obj_add_flag(mark, LV_OBJ_FLAG_HIDDEN);
        trace_marks[i] = mark;
    }

    ball = lv_obj_create(ball_game_screen);
    lv_obj_set_size(ball, BALL_RADIUS * 2, BALL_RADIUS * 2);
    lv_obj_set_style_radius(ball, LV_RADIUS_CIRCLE, 0);
    lv_obj_set_style_bg_color(ball, lv_color_hex(0x00A651), 0);
    lv_obj_set_style_bg_opa(ball, LV_OPA_COVER, 0);
    lv_obj_set_style_border_width(ball, 0, 0);
    lv_obj_clear_flag(ball, LV_OBJ_FLAG_SCROLLABLE);
    lv_obj_clear_flag(ball, LV_OBJ_FLAG_CLICKABLE);
    lv_obj_set_pos(ball, (int32_t)(shared_state.x - BALL_RADIUS), (int32_t)(shared_state.y - BALL_RADIUS));

    for (int i = 0; i < OBSTACLE_COUNT; i++) {
        lv_obj_t *obs = lv_obj_create(ball_game_screen);
        lv_obj_set_size(obs, OBSTACLE_RADIUS * 2, OBSTACLE_RADIUS * 2);
        lv_obj_set_style_radius(obs, LV_RADIUS_CIRCLE, 0);
        lv_obj_set_style_bg_color(obs, OBSTACLE_COLOR, 0);
        lv_obj_set_style_bg_opa(obs, LV_OPA_COVER, 0);
        lv_obj_set_style_border_width(obs, 0, 0);
        lv_obj_clear_flag(obs, LV_OBJ_FLAG_SCROLLABLE);
        lv_obj_clear_flag(obs, LV_OBJ_FLAG_CLICKABLE);
        obstacle_objs[i] = obs;
    }

    gameover_overlay = lv_obj_create(ball_game_screen);
    lv_obj_set_size(gameover_overlay, SCREEN_W, SCREEN_H);
    lv_obj_set_pos(gameover_overlay, 0, 0);
    lv_obj_set_style_radius(gameover_overlay, 0, 0);
    lv_obj_set_style_bg_color(gameover_overlay, lv_color_black(), 0);
    lv_obj_set_style_bg_opa(gameover_overlay, LV_OPA_70, 0);
    lv_obj_set_style_border_width(gameover_overlay, 0, 0);
    lv_obj_clear_flag(gameover_overlay, LV_OBJ_FLAG_SCROLLABLE);
    lv_obj_add_flag(gameover_overlay, LV_OBJ_FLAG_HIDDEN);

    lv_obj_t *gameover_title = lv_label_create(gameover_overlay);
    lv_label_set_text(gameover_title, "Game Over");
    lv_obj_set_style_text_color(gameover_title, lv_color_white(), 0);
    lv_obj_align(gameover_title, LV_ALIGN_CENTER, 0, -55);

    gameover_score_label = lv_label_create(gameover_overlay);
    lv_label_set_text(gameover_score_label, "Score: 0.00s");
    lv_obj_set_style_text_color(gameover_score_label, lv_color_white(), 0);
    lv_obj_align(gameover_score_label, LV_ALIGN_CENTER, 0, -28);

    gameover_best_label = lv_label_create(gameover_overlay);
    lv_label_set_text(gameover_best_label, "Best: 0.00s");
    lv_obj_set_style_text_color(gameover_best_label, lv_color_white(), 0);
    lv_obj_align(gameover_best_label, LV_ALIGN_CENTER, 0, -6);

    lv_obj_t *continue_btn = lv_button_create(gameover_overlay);
    lv_obj_set_size(continue_btn, 120, 40);
    lv_obj_align(continue_btn, LV_ALIGN_CENTER, 0, 35);
    lv_obj_add_event_cb(continue_btn, gameover_continue_cb, LV_EVENT_CLICKED, NULL);

    lv_obj_t *continue_label = lv_label_create(continue_btn);
    lv_label_set_text(continue_label, "Continue");
    lv_obj_center(continue_label);

    lv_obj_t *gameover_menu_btn = lv_button_create(gameover_overlay);
    lv_obj_set_size(gameover_menu_btn, 120, 40);
    lv_obj_align(gameover_menu_btn, LV_ALIGN_CENTER, 0, 85);
    lv_obj_add_event_cb(gameover_menu_btn, back_to_menu_cb, LV_EVENT_CLICKED, NULL);

    lv_obj_t *gameover_menu_label = lv_label_create(gameover_menu_btn);
    lv_label_set_text(gameover_menu_label, "Menu");
    lv_obj_center(gameover_menu_label);

    render_timer = lv_timer_create(render_timer_cb, RENDER_PERIOD_MS, NULL);
    lv_timer_pause(render_timer);

    k_thread_create(&physics_thread, physics_thread_stack, PHYSICS_THREAD_STACK_SIZE,
                     physics_thread_fn, NULL, NULL, NULL,
                     PHYSICS_THREAD_PRIORITY, 0, K_NO_WAIT);
    k_thread_name_set(&physics_thread, "ball_physics");

    lv_obj_add_event_cb(ball_game_screen, ball_game_visibility_cb,
                         LV_EVENT_SCREEN_LOADED, NULL);
    lv_obj_add_event_cb(ball_game_screen, ball_game_visibility_cb,
                         LV_EVENT_SCREEN_UNLOADED, NULL);

    lvgl_unlock();
}
```

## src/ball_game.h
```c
/**
 * @file
 * @brief Tilt-controlled bouncing ball screen, driven by the MPU6050.
 */

#ifndef APP_BALL_GAME_H_
#define APP_BALL_GAME_H_

#include <lvgl.h>

/** @brief Build the ball game screen. */
void ball_game_init(void);

/** @brief Get the ball game screen object. */
lv_obj_t *ball_game_screen_get(void);

#endif /* APP_BALL_GAME_H_ */
```

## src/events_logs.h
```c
/**
 * @file
 * @brief Scrollable on-screen event log (timestamped, ring-buffered).
 */

#ifndef APP_EVENTS_LOGS_H_
#define APP_EVENTS_LOGS_H_

#include <lvgl.h>

/** @brief Build the event log screen. */
void events_logs_init(void);

/** @brief Get the event log screen object. */
lv_obj_t *events_logs_screen_get(void);

/**
 * @brief Push a timestamped, printf-style line (no trailing '\n').
 *        Safe before events_logs_init(): boot events wait in a static buffer.
 */
void events_logs_add(const char *fmt, ...);

#endif /* APP_EVENTS_LOGS_H_ */
```
